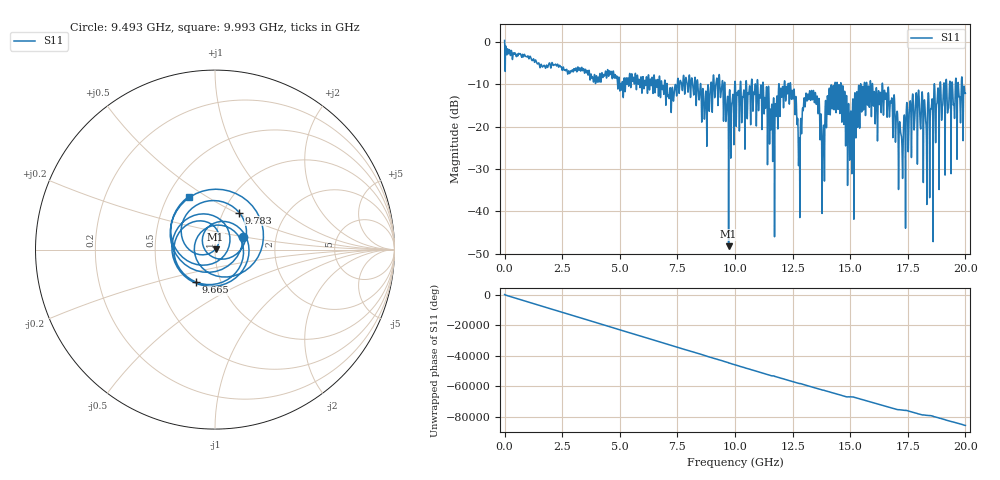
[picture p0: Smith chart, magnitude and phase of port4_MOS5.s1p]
! MS46122B
! 2250307/22442219
! 7/28/2025 8:01:26 AM
! C:\USERS\SPARKY\DOCUMENTS\VNA_DATA\JULY28_2025\295K\PORT4_MOS5.S1P
! CHANNEL.1
! TR.MEASUREMENT
! RAW.DATA
# GHZ S RI R 50.0
! FREQ.GHZ  S11RE  S11IM
!; PortSelection: Port_1
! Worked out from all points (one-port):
!   10001 points, 1 MHz to 20 GHz, reference 50 ohm
!   lowest |S11| = -48.3 dB at 9.723 GHz (marker M1), VSWR 1.01, Z = 50.3 + j0.263 ohm
!   |S11| at or under -10 dB: 12.41 GHz to 14.33 GHz (1.919 GHz wide, 14.3 % of centre); 14.6 GHz to 15.45 GHz (845.3 MHz wide, 5.63 % of centre); 16.41 GHz to 18.65 GHz (2.241 GHz wide, 12.8 % of centre) (the widest 3 of 68)
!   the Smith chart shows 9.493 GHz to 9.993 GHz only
!   S11 on the Smith chart (normalised r, x): 9.493 GHz: 1.36, +0.19; 9.665 GHz: 0.76, -0.29; 9.783 GHz: 1.19, +0.52; 9.993 GHz: 0.64, +0.42
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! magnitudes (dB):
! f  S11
! 1 MHz  0.4
! 2.501 GHz  -6.7
! 5.001 GHz  -11.4
! 7.501 GHz  -9.6
! 8.711 GHz  -13.2
! 9.493 GHz  -15.3
! 9.665 GHz  -13.6
! 9.723 GHz  -48.3
! 9.783 GHz  -12.2
! 9.993 GHz  -9.6
! 10 GHz  -9.3
! 11.05 GHz  -12.8
! 11.64 GHz  -25.1
! 11.98 GHz  -11.5
! 12.5 GHz  -12.0
! 12.8 GHz  -25.2
! 13.01 GHz  -13.4
! 13.32 GHz  -11.5
! 13.57 GHz  -13.1
! 13.79 GHz  -29.2
! 14.01 GHz  -12.7
! 14.26 GHz  -10.2
! 15 GHz  -19.8
! 15.79 GHz  -10.4
! 16.73 GHz  -14.9
! 17.19 GHz  -21.2
! 17.5 GHz  -19.9
! 20 GHz  -12.1
